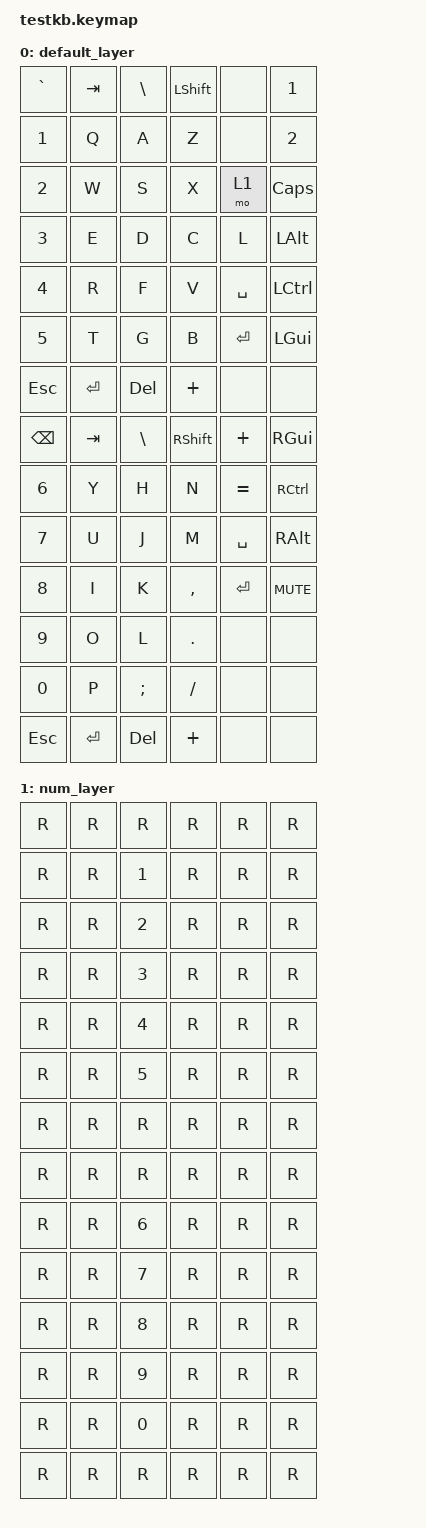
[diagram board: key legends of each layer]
#include <behaviors.dtsi>
#include <dt-bindings/zmk/keys.h>

/ {
    keymap {
        compatible = "zmk,keymap";

        default_layer {
            // Combined 14x6 grid (rows 0-6 left, 7-13 right)
            bindings = <
                &kp GRAVE   &kp TAB     &kp BSLH    &kp LSHIFT  &none        &kp N1
                &kp N1      &kp Q       &kp A       &kp Z       &none        &kp N2
                &kp N2      &kp W       &kp S       &kp X       &mo 1        &kp CAPSLOCK
                &kp N3      &kp E       &kp D       &kp C       &kp L        &kp LALT
                &kp N4      &kp R       &kp F       &kp V       &kp SPACE    &kp LCTRL
                &kp N5      &kp T       &kp G       &kp B       &kp ENTER    &kp LGUI
                &kp ESC     &kp ENTER   &kp DEL     &kp PLUS    &none        &none

                &kp BSPC    &kp TAB     &kp BSLH    &kp RSHIFT  &kp PLUS     &kp RGUI
                &kp N6      &kp Y       &kp H       &kp N       &kp EQUAL    &kp RCTRL
                &kp N7      &kp U       &kp J       &kp M       &kp SPACE    &kp RALT
                &kp N8      &kp I       &kp K       &kp COMMA   &kp ENTER    &kp K_MUTE
                &kp N9      &kp O       &kp L       &kp DOT     &none        &none
                &kp N0      &kp P       &kp SEMI    &kp SLASH   &none        &none
                &kp ESC     &kp ENTER   &kp DEL     &kp PLUS    &none        &none
            >;
        };

        num_layer {
            // 14x6 numeric layer consolidated
            bindings = <
                &kp R  &kp R  &kp R  &kp R  &kp R  &kp R
                &kp R  &kp R  &kp N1 &kp R  &kp R  &kp R
                &kp R  &kp R  &kp N2 &kp R  &kp R  &kp R
                &kp R  &kp R  &kp N3 &kp R  &kp R  &kp R
                &kp R  &kp R  &kp N4 &kp R  &kp R  &kp R
                &kp R  &kp R  &kp N5 &kp R  &kp R  &kp R
                &kp R  &kp R  &kp R  &kp R  &kp R  &kp R

                &kp R  &kp R  &kp R  &kp R  &kp R  &kp R
                &kp R  &kp R  &kp N6 &kp R  &kp R  &kp R
                &kp R  &kp R  &kp N7 &kp R  &kp R  &kp R
                &kp R  &kp R  &kp N8 &kp R  &kp R  &kp R
                &kp R  &kp R  &kp N9 &kp R  &kp R  &kp R
                &kp R  &kp R  &kp N0 &kp R  &kp R  &kp R
                &kp R  &kp R  &kp R  &kp R  &kp R  &kp R
            >;
        };
    };
};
